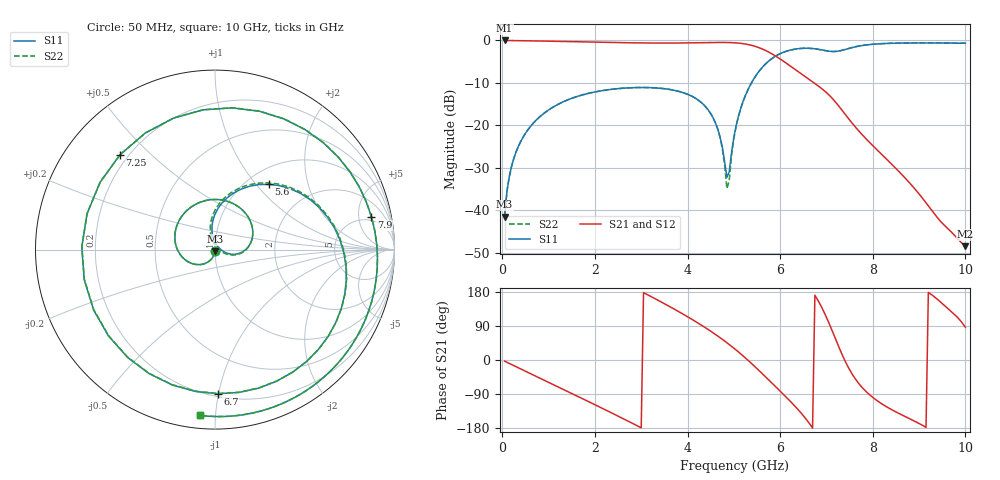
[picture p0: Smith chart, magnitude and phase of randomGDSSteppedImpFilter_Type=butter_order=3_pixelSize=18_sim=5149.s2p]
! freq	dB(S11)	phase(S11)	dB(S12)	phase(S12)
!  dB(S21)	phase(S21)	dB(S22)	phase(S22)
!S-par simulation data
#  GHz  S  DB  R 50
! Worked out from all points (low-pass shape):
!   200 points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, 50 MHz to 10 GHz, reference 50 ohm
!   highest |S21| = 0.00 dB at 50 MHz (marker M1); lowest = -48.4 dB at 10 GHz (marker M2)
!   |S21| within 3 dB of the highest: start of sweep to 5.797 GHz
!   lowest |S11| = -41.5 dB at 50 MHz (marker M3), VSWR 1.02, Z = 50 - j0.842 ohm
!   |S11| at or under -10 dB: start of sweep to 5.381 GHz
!   |S22| runs from -41.5 to -0.6 dB; largest |S21 - S12| = 0
!   S11 on the Smith chart (normalised r, x): 50 MHz: 1.00, -0.02; 5.6 GHz: 1.25, +1.17; 6.7 GHz: 0.22, -0.99; 7.25 GHz: 0.17, +0.40; 7.9 GHz: 4.17, +7.34; 10 GHz: 0.07, -0.91
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0.05  -41.48 -91.3  -0.00 -3.0  -0.00 -3.0  -41.48 -91.2
0.2  -29.64 -101.6  -0.03 -11.9  -0.03 -11.9  -29.64 -101.5
0.5  -21.88 -120.1  -0.07 -29.6  -0.07 -29.6  -21.87 -119.9
1.15  -15.36 -158.8  -0.21 -67.8  -0.21 -67.8  -15.36 -158.5
1.75  -12.76 165.7  -0.36 -103.2  -0.36 -103.2  -12.76 166.2
2.65  -11.21 111.7  -0.54 -157.2  -0.54 -157.2  -11.21 112.3
3.4  -11.25 64.7  -0.61 155.2  -0.61 155.2  -11.25 65.2
4  -12.67 25.0  -0.58 114.2  -0.58 114.2  -12.67 25.1
4.5  -17.21 -8.6  -0.49 76.0  -0.49 76.0  -17.24 -10.1
4.7  -22.59 -16.8  -0.47 59.1  -0.47 59.1  -22.76 -20.9
4.85  -32.22 24.0  -0.48 45.6  -0.48 45.6  -34.89 17.0
5.05  -20.03 99.6  -0.58 26.3  -0.58 26.3  -20.19 104.9
5.6  -6.51 50.3  -1.95 -34.4  -1.95 -34.4  -6.52 52.1
6.2  -2.33 -19.2  -5.87 -106.6  -5.87 -106.6  -2.33 -18.3
6.7  -1.90 -89.0  -9.75 -179.6  -9.75 -179.6  -1.91 -88.8
7.05  -2.53 -166.9  -12.79 98.7  -12.79 98.7  -2.54 -167.4
7.25  -2.53 135.3  -15.23 39.5  -15.23 39.5  -2.52 134.7
7.5  -1.84 72.3  -18.73 -25.7  -18.73 -25.7  -1.82 72.0
7.9  -1.01 11.8  -23.67 -88.4  -23.67 -88.4  -1.00 12.0
8.35  -0.68 -25.6  -28.51 -127.1  -28.51 -127.1  -0.68 -25.3
9.05  -0.58 -61.4  -36.83 -170.8  -36.83 -170.8  -0.58 -61.1
10  -0.66 -95.2  -48.44 86.3  -48.44 86.3  -0.66 -95.0
